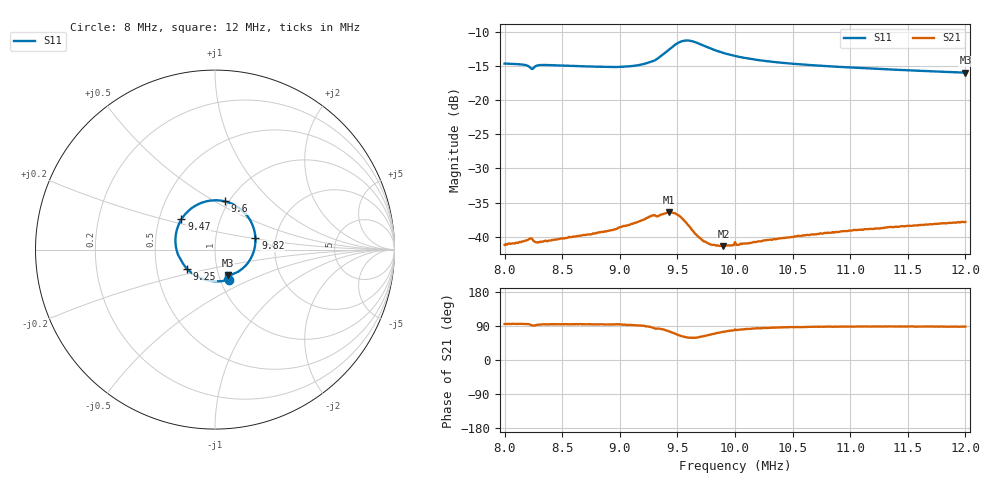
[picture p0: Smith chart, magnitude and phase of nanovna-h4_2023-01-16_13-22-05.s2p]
! NanoVNA-App
! Date: 2023-01-16 13:22:35
! Start: 8MHz Stop: 12MHz Points: 401
! S-Parameter data: F S11 S21 S12 S22
# Hz S RI R 50
!  Frequency  S11_Real  S11_Imag  S21_Real  S21_Imag  S12_Real  S12_Imag  S22_Real  S22_Imag
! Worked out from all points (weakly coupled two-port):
!   401 points, 8 MHz to 12 MHz, reference 50 ohm
!   highest |S21| = -36.45 dB at 9.43 MHz (marker M1); lowest = -41.4 dB at 9.9 MHz (marker M2)
!   lowest |S11| = -15.9 dB at 12 MHz (marker M3), VSWR 1.38, Z = 55.1 - j16.2 ohm
!   |S11| at or under -10 dB: start of sweep to end of sweep
!   S12 and S22 are empty: the file has one direction only
!   S11 on the Smith chart (normalised r, x): 8 MHz: 1.10, -0.38; 9.25 MHz: 0.71, -0.16; 9.47 MHz: 0.65, +0.24; 9.6 MHz: 0.96, +0.56; 9.82 MHz: 1.56, +0.22; 12 MHz: 1.10, -0.32
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8000000  0.0778 -0.1691  -0.000755 0.00866  0 0  0 0
8160000  0.0643 -0.171  -0.000861 0.00919  0 0  0 0
8240000  0.0592 -0.159  -0.000161 0.00961  0 0  0 0
8300000  0.0622 -0.1702  -0.000505 0.00907  0 0  0 0
8670000  0.0182 -0.177  -0.0008 0.0102  0 0  0 0
9050000  -0.0667 -0.1639  -0.000589 0.012  0 0  0 0
9160000  -0.1111 -0.143  -0.000249 0.0129  0 0  0 0
9250000  -0.157 -0.1057  0.000446 0.0139  0 0  0 0
9340000  -0.2033 -0.0341  0.00177 0.0141  0 0  0 0
9430000  -0.2155 0.098  0.00386 0.0145  0 0  0 0
9470000  -0.1867 0.1692  0.00489 0.0141  0 0  0 0
9540000  -0.0707 0.2623  0.00623 0.0121  0 0  0 0
9600000  0.0547 0.2688  0.00619 0.0103  0 0  0 0
9650000  0.1365 0.2305  0.00551 0.00906  0 0  0 0
9700000  0.1872 0.1773  0.00468 0.00853  0 0  0 0
9820000  0.2251 0.0652  0.00312 0.00813  0 0  0 0
9900000  0.2219 0.0151  0.00224 0.00821  0 0  0 0
1e7  0.2098 -0.0274  0.00147 0.009  0 0  0 0
1.026e7  0.1756 -0.0839  0.000904 0.00936  0 0  0 0
1.067e7  0.1373 -0.118  0.000459 0.0104  0 0  0 0
1.134e7  0.0981 -0.137  0.000297 0.0118  0 0  0 0
1.2e7  0.0703 -0.1433  0.000413 0.0128  0 0  0 0
